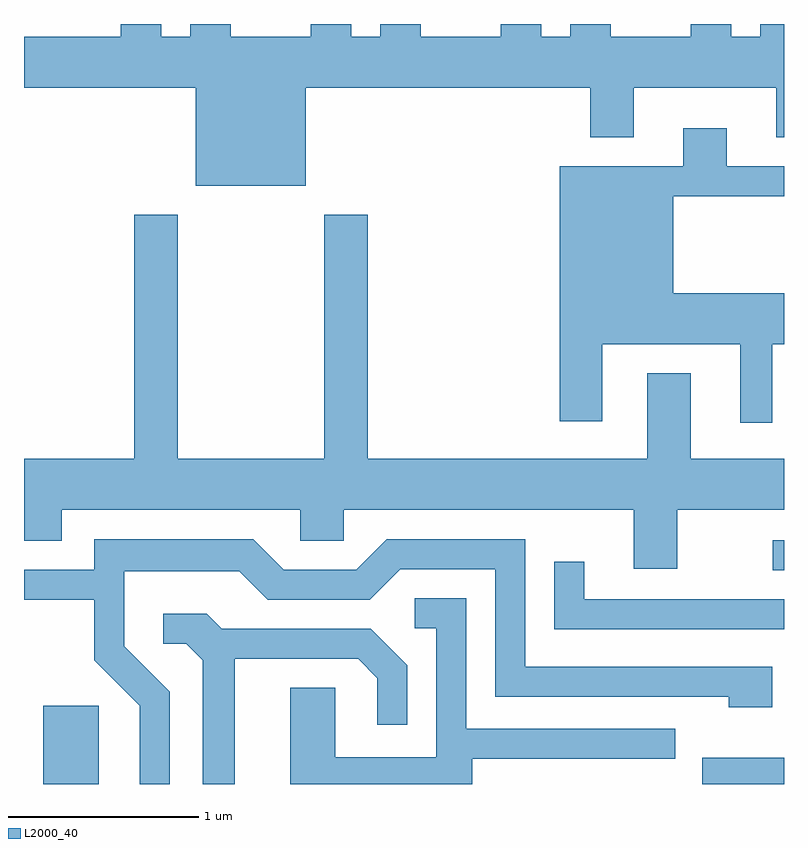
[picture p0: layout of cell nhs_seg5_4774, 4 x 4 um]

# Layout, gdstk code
import gdstk
lib = gdstk.Library(unit=1e-6, precision=1e-09)
def R(c, l, rs):  # rectangles x0, y0, x1, y1
    for r in rs: c.add(gdstk.rectangle(r[:2], r[2:], *l))
def P(c, l, *ps):  # polygons
    for p in ps: c.add(gdstk.Polygon(p, *l))
L2000_40 = (2000, 40)

nhs_seg5_4774 = lib.new_cell('nhs_seg5_4774')
R(nhs_seg5_4774, L2000_40, [(327.711,1402.072,328.004,1402.484), (331.181,1402.072,331.611,1402.209), (331.553,1403.196,331.611,1403.354)])
P(nhs_seg5_4774, L2000_40, [(329.094,1405.736),(330.591,1405.736),(330.591,1405.476),(330.819,1405.476),(330.819,1405.736),(331.571,1405.736),(331.571,1405.476),(331.611,1405.476),(331.611,1406.072),(331.486,1406.072),(331.486,1406.004),(331.334,1406.004),(331.334,1406.072),(331.121,1406.072),(331.121,1406.004),(330.699,1406.004),(330.699,1406.072),(330.486,1406.072),(330.486,1406.004),(330.334,1406.004),(330.334,1406.072),(330.121,1406.072),(330.121,1406.004),(329.699,1406.004),(329.699,1406.072),(329.486,1406.072),(329.486,1406.004),(329.334,1406.004),(329.334,1406.072),(329.121,1406.072),(329.121,1406.004),(328.699,1406.004),(328.699,1406.072),(328.486,1406.072),(328.486,1406.004),(328.334,1406.004),(328.334,1406.072),(328.121,1406.072),(328.121,1406.004),(327.611,1406.004),(327.611,1405.736),(328.516,1405.736),(328.516,1405.221),(329.094,1405.221)],
  [(331.549,1404.386),(331.611,1404.386),(331.611,1404.654),(331.029,1404.654),(331.029,1405.166),(331.611,1405.166),(331.611,1405.324),(331.309,1405.324),(331.309,1405.524),(331.081,1405.524),(331.081,1405.324),(330.431,1405.324),(330.431,1403.981),(330.654,1403.981),(330.654,1404.386),(331.381,1404.386),(331.381,1403.973),(331.549,1403.973)],
  [(328.419,1405.069),(328.191,1405.069),(328.191,1403.784),(327.611,1403.784),(327.611,1403.351),(327.809,1403.351),(327.809,1403.516),(329.066,1403.516),(329.066,1403.351),(329.294,1403.351),(329.294,1403.516),(330.821,1403.516),(330.821,1403.206),(331.049,1403.206),(331.049,1403.516),(331.611,1403.516),(331.611,1403.784),(331.119,1403.784),(331.119,1404.234),(330.891,1404.234),(330.891,1403.784),(329.419,1403.784),(329.419,1405.069),(329.191,1405.069),(329.191,1403.784),(328.419,1403.784)],
  [(328.379,1402.557),(328.139,1402.797),(328.139,1403.191),(328.744,1403.191),(328.894,1403.041),(329.432,1403.041),(329.592,1403.201),(330.091,1403.201),(330.091,1402.531),(331.321,1402.531),(331.321,1402.476),(331.549,1402.476),(331.549,1402.689),(330.249,1402.689),(330.249,1403.359),(329.519,1403.359),(329.359,1403.199),(328.977,1403.199),(328.817,1403.359),(327.981,1403.359),(327.981,1403.199),(327.611,1403.199),(327.611,1403.041),(327.981,1403.041),(327.981,1402.724),(328.221,1402.484),(328.221,1402.072),(328.379,1402.072)],
  [(331.611,1403.044),(330.559,1403.044),(330.559,1403.243),(330.401,1403.243),(330.401,1402.886),(331.611,1402.886)],
  [(329.969,1402.206),(331.038,1402.206),(331.038,1402.364),(329.939,1402.364),(329.939,1403.049),(329.668,1403.049),(329.668,1402.891),(329.781,1402.891),(329.781,1402.214),(329.249,1402.214),(329.249,1402.579),(329.011,1402.579),(329.011,1402.072),(329.969,1402.072)],
  [(328.719,1402.731),(329.369,1402.731),(329.471,1402.629),(329.471,1402.383),(329.629,1402.383),(329.629,1402.697),(329.437,1402.889),(328.652,1402.889),(328.572,1402.969),(328.343,1402.969),(328.343,1402.811),(328.464,1402.811),(328.551,1402.724),(328.551,1402.072),(328.719,1402.072)])

lib.write_gds('nhs_seg5_4774.gds')
